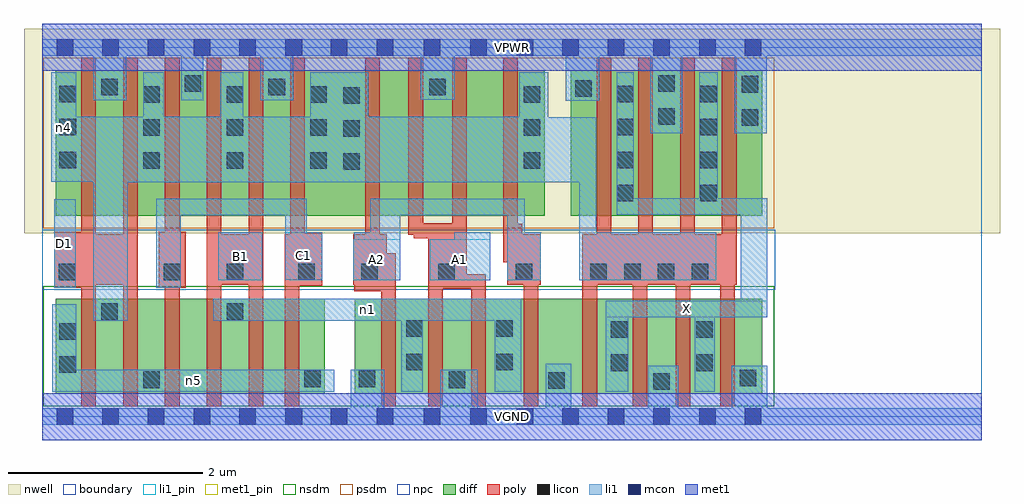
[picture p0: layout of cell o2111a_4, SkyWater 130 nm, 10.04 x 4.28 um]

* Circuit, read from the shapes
.subckt o2111a_4 A1 A2 B1 C1 D1 VGND VPWR X n1 n4 n5
XM1 n4 D1 n5 VSUBS sky130_fd_pr__nfet_01v8 w=0.98 l=0.15 m=2
XM2 n2 C1 n5 VSUBS sky130_fd_pr__nfet_01v8 w=0.98 l=0.15
XM3 n1 B1 n2 VSUBS sky130_fd_pr__nfet_01v8 w=0.98 l=0.15
XM4 n3 B1 n1 VSUBS sky130_fd_pr__nfet_01v8 w=0.98 l=0.15
XM5 n5 C1 n3 VSUBS sky130_fd_pr__nfet_01v8 w=0.98 l=0.15
XM6 n1 A2 VGND VSUBS sky130_fd_pr__nfet_01v8 w=0.98 l=0.15 m=2
XM7 VGND A1 n1 VSUBS sky130_fd_pr__nfet_01v8 w=0.98 l=0.15 m=2
XM8 X n4 VGND VSUBS sky130_fd_pr__nfet_01v8 w=0.98 l=0.15 m=4
XM9 VPWR D1 n4 n6 sky130_fd_pr__pfet_01v8 w=1.5 l=0.15 m=2
XM10 VPWR C1 n4 n6 sky130_fd_pr__pfet_01v8 w=1.5 l=0.15 m=2
XM11 n4 B1 VPWR n6 sky130_fd_pr__pfet_01v8 w=1.5 l=0.15 m=2
XM12 n7 A2 n4 n6 sky130_fd_pr__pfet_01v8 w=1.5 l=0.15
XM13 VPWR A1 n7 n6 sky130_fd_pr__pfet_01v8 w=1.5 l=0.15
XM14 n8 A1 VPWR n6 sky130_fd_pr__pfet_01v8 w=1.5 l=0.15
XM15 n4 A2 n8 n6 sky130_fd_pr__pfet_01v8 w=1.5 l=0.15
XM16 X n4 VPWR n6 sky130_fd_pr__pfet_01v8 w=1.5 l=0.15 m=4
.ends

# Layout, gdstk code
import gdstk
lib = gdstk.Library(unit=1e-6, precision=1e-09)
def R(c, l, rs):  # rectangles x0, y0, x1, y1
    for r in rs: c.add(gdstk.rectangle(r[:2], r[2:], *l))
def A(c, l, x, y, w, h, nx, ny, dx, dy):  # array of equal rectangles
    R(c, l, [(x+i*dx, y+j*dy, x+i*dx+w, y+j*dy+h) for i in range(nx) for j in range(ny)])
nwell = (64, 20)
diff = (65, 20)
poly = (66, 20)
licon = (66, 44)
li1_pin = (67, 16)
li1 = (67, 20)
mcon = (67, 44)
met1_pin = (68, 16)
met1 = (68, 20)
nsdm = (93, 44)
psdm = (94, 20)
npc = (95, 20)
boundary = (235, 4)

o2111a_4 = lib.new_cell('o2111a_4')
R(o2111a_4, nwell, [(-0.19,1.885,9.85,3.99), (0,1.885,9.66,3.99)])
R(o2111a_4, diff, [(0.135,0.235,2.905,1.215), (3.21,0.235,7.405,1.215), (0.135,2.065,5.165,3.565), (5.435,2.065,7.405,3.565)])
A(o2111a_4, poly, 0.4, 0.105, 0.15, 3.59, 5, 1, 0.43, 0)
A(o2111a_4, poly, 5.7, 1.355, 0.15, 2.34, 4, 1, 0.43, 0)
R(o2111a_4, poly, [(2.49,0.105,2.64,1.875), (3.485,0.105,3.635,1.68), (3.97,0.105,4.12,1.99), (4.41,0.105,4.56,1.465), (4.95,0.105,5.1,1.875), (5.555,0.105,5.705,1.875), (6.07,0.105,6.22,1.875), (6.515,0.105,6.665,1.875), (6.97,0.105,7.12,1.875), (6.99,0.105,7.12,3.695), (3.205,1.29,3.635,1.68), (3.32,1.29,3.47,3.695), (3.97,1.315,4.365,1.99), (3.97,1.315,4.56,1.465), (4.215,1.315,4.365,3.695), (0.12,1.325,0.55,1.905), (1.195,1.325,1.475,1.905), (2.55,1.345,2.7,3.695), (2.55,1.345,2.88,1.885), (0.12,1.355,0.98,1.875), (1.69,1.355,2.27,1.875), (3.195,1.355,3.54,1.875), (4.78,1.355,5.125,1.875), (5.555,1.355,7.14,1.875), (4.74,1.59,4.89,3.695), (4.74,1.59,4.935,1.985), (3.82,1.835,4.365,1.99), (3.765,1.87,3.915,3.695)])
A(o2111a_4, licon, 5.905, 2.215, 0.17, 0.17, 1, 4, 0, 0.34)
A(o2111a_4, licon, 6.765, 2.215, 0.17, 0.17, 1, 4, 0, 0.34)
A(o2111a_4, licon, 3.095, 2.54, 0.17, 0.17, 1, 3, 0, 0.34)
A(o2111a_4, licon, 1.035, 2.55, 0.17, 0.17, 3, 3, 0.86, 0.34)
A(o2111a_4, licon, 4.95, 2.55, 0.17, 0.17, 1, 3, 0, 0.34)
A(o2111a_4, licon, 0.175, 2.555, 0.17, 0.17, 1, 3, 0, 0.34)
R(o2111a_4, licon, [(6.285,0.275,6.455,0.445), (5.205,0.285,5.375,0.455), (1.035,0.295,1.205,0.465), (4.18,0.295,4.35,0.465), (2.695,0.305,2.865,0.475), (3.255,0.305,3.425,0.475), (7.175,0.315,7.345,0.485), (0.175,0.45,0.345,0.62), (5.845,0.47,6.015,0.64), (6.725,0.47,6.895,0.64), (3.74,0.48,3.91,0.65), (4.67,0.48,4.84,0.65), (0.175,0.79,0.345,0.96), (5.845,0.81,6.015,0.98), (6.725,0.81,6.895,0.98), (3.74,0.82,3.91,0.99), (4.67,0.82,4.84,0.99), (0.605,0.995,0.775,1.165), (1.895,0.995,2.065,1.165), (0.17,1.405,0.34,1.575), (1.25,1.405,1.42,1.575), (1.895,1.405,2.065,1.575), (2.63,1.405,2.8,1.575), (3.28,1.405,3.45,1.575), (4.07,1.405,4.24,1.575), (4.87,1.405,5.04,1.575), (5.635,1.405,5.805,1.575), (5.985,1.405,6.155,1.575), (6.33,1.405,6.5,1.575), (6.68,1.405,6.85,1.575), (7.195,2.995,7.365,3.165), (6.335,3.005,6.505,3.175), (5.48,3.29,5.65,3.46), (0.605,3.305,0.775,3.475), (2.325,3.305,2.495,3.475), (3.98,3.305,4.15,3.475), (7.195,3.335,7.365,3.505), (1.465,3.345,1.635,3.515), (6.335,3.345,6.505,3.515)])
R(o2111a_4, li1_pin, [(5.795,1.025,7.455,1.195), (0.12,1.325,0.34,2.235), (1.81,1.405,2.26,1.9), (3.195,1.405,3.68,1.825), (3.985,1.405,4.605,1.825), (2.5,1.41,2.88,1.9)])
R(o2111a_4, li1, [(0,-0.085,9.66,0.085), (3.17,-0.085,3.515,0.485), (4.09,-0.085,4.48,0.485), (5.175,-0.085,5.44,0.545), (6.23,-0.085,6.54,0.525), (7.09,-0.085,7.455,0.525), (0.1,0.255,3,0.485), (0.1,0.255,0.345,1.155), (3.69,0.255,3.91,1.215), (4.655,0.255,4.925,1.215), (5.795,0.255,6.025,1.195), (6.71,0.255,6.915,1.195), (0.52,0.985,0.875,3.085), (1.755,0.985,4.925,1.215), (5.795,1.025,7.455,1.195), (7.185,1.025,7.455,2.245), (0.12,1.325,0.34,2.235), (1.17,1.325,1.425,2.24), (1.81,1.405,2.26,1.9), (2.545,1.405,2.88,1.9), (3.195,1.405,3.68,1.825), (3.205,1.405,3.68,1.9), (3.37,1.405,3.68,2.24), (3.985,1.405,4.605,1.825), (4.235,1.405,4.605,1.9), (4.78,1.405,5.125,1.9), (4.78,1.405,4.96,2.24), (5.52,1.405,6.93,1.9), (5.52,1.405,5.695,3.08), (2.5,1.41,2.88,1.9), (2.5,1.41,2.72,2.24), (1.17,2.07,2.72,2.24), (3.37,2.07,4.96,2.24), (5.905,2.075,7.455,2.245), (5.905,2.075,6.08,3.545), (6.755,2.075,6.945,3.545), (0.52,2.41,5.695,3.08), (1.035,2.41,1.25,3.545), (1.83,2.41,2.065,3.545), (2.755,2.41,3.35,3.545), (4.905,2.41,5.205,3.545), (0.09,2.415,0.345,3.545), (0.09,2.415,5.205,3.085), (6.25,2.915,6.58,3.885), (7.12,2.915,7.45,3.885), (5.385,3.25,5.73,3.885), (0.52,3.255,0.86,3.885), (1.43,3.255,1.655,3.885), (2.24,3.255,2.58,3.885), (3.89,3.26,4.24,3.885), (0,3.715,9.66,3.885)])
A(o2111a_4, mcon, 0.145, -0.085, 0.17, 0.17, 5, 2, 0.47, 3.8)
A(o2111a_4, mcon, 3.44, -0.085, 0.17, 0.17, 4, 2, 0.48, 3.8)
A(o2111a_4, mcon, 5.345, -0.085, 0.17, 0.17, 5, 2, 0.47, 3.8)
R(o2111a_4, mcon, [(2.5,-0.085,2.67,0.085), (2.965,-0.085,3.135,0.085), (2.5,3.715,2.67,3.885), (2.965,3.715,3.135,3.885)])
R(o2111a_4, met1_pin, [(0,-0.24,9.66,0.24), (0,3.56,9.66,4.04)])
R(o2111a_4, met1, [(0,-0.24,9.66,0.24), (0,3.56,9.66,4.04)])
R(o2111a_4, nsdm, [(0.01,0.11,7.53,1.34)])
R(o2111a_4, psdm, [(0.01,1.94,7.53,3.69)])
R(o2111a_4, npc, [(0,1.305,7.54,1.925)])
R(o2111a_4, boundary, [(0,0,9.66,3.8)])
o2111a_4.add(gdstk.Label('A1', (4.295,1.615), layer=67, texttype=5))
o2111a_4.add(gdstk.Label('A2', (3.437,1.615), layer=67, texttype=5))
o2111a_4.add(gdstk.Label('B1', (2.035,1.652), layer=67, texttype=5))
o2111a_4.add(gdstk.Label('C1', (2.69,1.655), layer=67, texttype=5))
o2111a_4.add(gdstk.Label('D1', (0.23,1.78), layer=67, texttype=5))
o2111a_4.add(gdstk.Label('X', (6.625,1.11), layer=67, texttype=5))
o2111a_4.add(gdstk.Label('n5', (1.55,0.37), layer=67, texttype=5))
o2111a_4.add(gdstk.Label('n1', (3.34,1.1), layer=67, texttype=5))
o2111a_4.add(gdstk.Label('n4', (0.217,2.98), layer=67, texttype=5))
o2111a_4.add(gdstk.Label('VPWR', (4.83,3.8), layer=68, texttype=5))
o2111a_4.add(gdstk.Label('VGND', (4.83,0), layer=68, texttype=5))
o2111a_4.add(gdstk.Label('A1', (4.295,1.615), layer=67, texttype=16))
o2111a_4.add(gdstk.Label('A2', (3.437,1.615), layer=67, texttype=16))
o2111a_4.add(gdstk.Label('B1', (2.035,1.652), layer=67, texttype=16))
o2111a_4.add(gdstk.Label('C1', (2.69,1.655), layer=67, texttype=16))
o2111a_4.add(gdstk.Label('D1', (0.23,1.78), layer=67, texttype=16))
o2111a_4.add(gdstk.Label('X', (6.625,1.11), layer=67, texttype=16))
o2111a_4.add(gdstk.Label('VPWR', (4.83,3.8), layer=68, texttype=16))
o2111a_4.add(gdstk.Label('VGND', (4.83,0), layer=68, texttype=16))

lib.write_gds('o2111a_4.gds')
